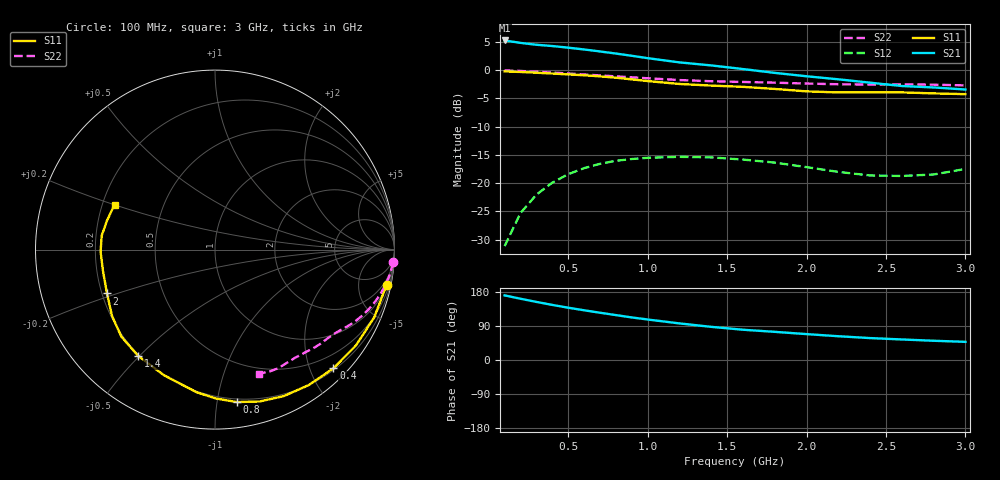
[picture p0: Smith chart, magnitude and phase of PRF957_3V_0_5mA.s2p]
! Philips part #:  PRF957  Date:  Nov 1998
! Bias condition:  Vce=3V, Ic=0.5mA
#  MHz  S  MA  R 50
! Freq  S11  S21  S12  S22
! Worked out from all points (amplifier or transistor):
!   20 points, 100 MHz to 3 GHz, reference 50 ohm
!   highest |S21| = 5.3 dB at 100 MHz (marker M1)
!   |S21| within 3 dB of that: start of sweep to 967.7 MHz
!   unconditionally stable (mu >= 1): 2.287 GHz to end of sweep
!   at 400 MHz: K = 0.13, MSG = 12.1 dB, |S12| = -19.9 dB
!   at 1.2 GHz: K = 0.39, MSG = 8.4 dB, |S12| = -15.3 dB
!   at 3 GHz: K = 1.28, MAG = 3.9 dB, |S12| = -17.5 dB
!   S11 on the Smith chart (normalised r, x): 100 MHz: 1.16, -9.63; 400 MHz: 0.23, -2.39; 800 MHz: 0.18, -1.14; 1.4 GHz: 0.19, -0.50; 2 GHz: 0.22, -0.19; 3 GHz: 0.25, +0.20
100  0.9759 -11.7  1.834 170.5  0.02763 82.5  0.9954 -4.1
200  0.9642 -23.0  1.745 161.7  0.0543 76.0  0.9843 -8.0
300  0.9498 -34.2  1.68 153.3  0.079 69.7  0.9698 -11.8
400  0.9342 -45.0  1.637 145.4  0.1009 63.7  0.953 -15.3
500  0.918 -55.3  1.584 138.0  0.1199 58.5  0.9349 -18.6
600  0.9018 -64.8  1.526 131.2  0.1356 53.7  0.9163 -21.5
700  0.882 -73.6  1.466 124.8  0.1482 49.3  0.8991 -24.1
800  0.8582 -81.8  1.405 118.5  0.1576 45.2  0.8819 -26.4
900  0.8295 -89.7  1.342 112.3  0.1634 41.5  0.8651 -28.6
1000  0.8016 -97.3  1.278 106.9  0.1675 38.3  0.8482 -30.6
1200  0.7552 -112.2  1.173 96.6  0.1709 32.7  0.8181 -34.4
1400  0.7307 -125.9  1.102 87.5  0.1689 28.2  0.7986 -38.3
1600  0.7121 -137.1  1.024 79.9  0.1616 26.1  0.7871 -42.0
1800  0.6825 -147.2  0.9469 74.3  0.1519 26.1  0.7753 -45.3
2000  0.6495 -157.9  0.8837 68.3  0.1386 27.5  0.7615 -48.8
2200  0.6353 -169.1  0.8304 62.7  0.1257 31.5  0.7505 -53.0
2400  0.6375 -178.9  0.7753 57.9  0.1169 38.9  0.7472 -57.6
2600  0.6361 173.0  0.7241 54.2  0.1157 49.7  0.7489 -61.9
2800  0.6231 165.0  0.7035 50.8  0.1192 61.8  0.7442 -66.0
3000  0.6133 155.9  0.6745 47.9  0.1335 72.7  0.7334 -70.5
